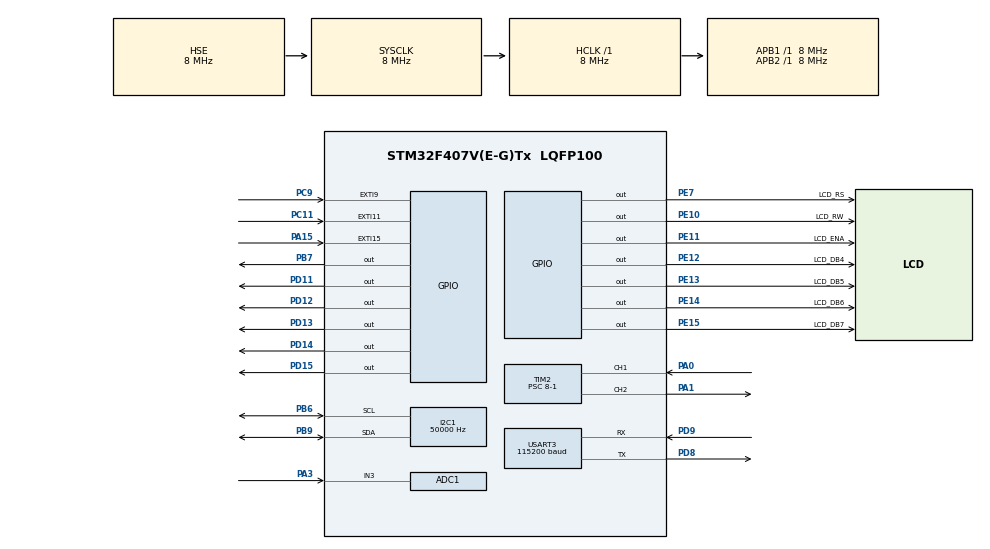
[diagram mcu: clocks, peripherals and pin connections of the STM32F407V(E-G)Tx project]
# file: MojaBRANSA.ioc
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ADC1.Channel-0\#ChannelRegularConversion=ADC_CHANNEL_3
ADC1.NbrOfConversionFlag=1
ADC1.Rank-0\#ChannelRegularConversion=1
ADC1.SamplingTime-0\#ChannelRegularConversion=ADC_SAMPLETIME_480CYCLES
ADC1.master=1
I2C1.ClockSpeed=50000
Mcu.Family=STM32F4
Mcu.Name=STM32F407V(E-G)Tx
Mcu.Package=LQFP100
<<<<<<< HEAD
=======
>>>>>>> 3a18c9df277c3c62d57d98ba238f40c4dd45d2ff
NVIC.EXTI15_10_IRQn=true\:0\:0\:false\:false\:true\:true\:true\:true
NVIC.EXTI9_5_IRQn=true\:0\:0\:false\:false\:true\:true\:true\:true
NVIC.PriorityGroup=NVIC_PRIORITYGROUP_4
NVIC.TIM2_IRQn=true\:0\:0\:false\:false\:true\:true\:true\:true
NVIC.USART3_IRQn=true\:0\:0\:false\:false\:true\:true\:true\:true
PA0-WKUP.Signal=S_TIM2_CH1_ETR
PA1.Signal=S_TIM2_CH2
PA13.Mode=Serial_Wire
PA13.Signal=SYS_JTMS-SWDIO
PA14.Mode=Serial_Wire
PA14.Signal=SYS_JTCK-SWCLK
PA15.GPIO_ModeDefaultEXTI=GPIO_MODE_IT_RISING_FALLING
PA15.Signal=GPXTI15
PA3.Signal=ADCx_IN3
PB6.Mode=I2C
PB6.Signal=I2C1_SCL
PB7.Signal=GPIO_Output
PB9.Mode=I2C
PB9.Signal=I2C1_SDA
PC11.GPIO_ModeDefaultEXTI=GPIO_MODE_IT_RISING_FALLING
PC11.Signal=GPXTI11
PC9.GPIO_ModeDefaultEXTI=GPIO_MODE_IT_RISING_FALLING
PC9.Signal=GPXTI9
PD11.Signal=GPIO_Output
<<<<<<< HEAD
PD12.Signal=GPIO_Output
=======
>>>>>>> 3a18c9df277c3c62d57d98ba238f40c4dd45d2ff
PD13.Signal=GPIO_Output
PD14.Signal=GPIO_Output
PD15.Signal=GPIO_Output
PD8.Mode=Asynchronous
PD8.Signal=USART3_TX
PD9.Mode=Asynchronous
PD9.Signal=USART3_RX
PE10.GPIO_Label=LCD_RW
PE10.Signal=GPIO_Output
PE11.GPIO_Label=LCD_ENA
PE11.Signal=GPIO_Output
PE12.GPIO_Label=LCD_DB4
PE12.Signal=GPIO_Output
PE13.GPIO_Label=LCD_DB5
PE13.Signal=GPIO_Output
PE14.GPIO_Label=LCD_DB6
PE14.Signal=GPIO_Output
PE15.GPIO_Label=LCD_DB7
PE15.Signal=GPIO_Output
PE7.GPIO_Label=LCD_RS
PE7.Signal=GPIO_Output
PH0-OSC_IN.Mode=HSE-External-Oscillator
PH0-OSC_IN.Signal=RCC_OSC_IN
PH1-OSC_OUT.Mode=HSE-External-Oscillator
PH1-OSC_OUT.Signal=RCC_OSC_OUT
ProjectManager.HeapSize=0x200
ProjectManager.StackSize=0x400
ProjectManager.TargetToolchain=STM32CubeIDE
RCC.AHBFreq_Value=8000000
RCC.APB1Freq_Value=8000000
RCC.APB1TimFreq_Value=8000000
RCC.APB2Freq_Value=8000000
RCC.APB2TimFreq_Value=8000000
RCC.CortexFreq_Value=8000000
RCC.HCLKFreq_Value=8000000
RCC.HSE_VALUE=8000000
RCC.HSI_VALUE=16000000
RCC.LSE_VALUE=32768
RCC.SYSCLKFreq_VALUE=8000000
RCC.SYSCLKSource=RCC_SYSCLKSOURCE_HSE
RCC.VCOOutputFreq_Value=192000000
SH.ADCx_IN3.0=ADC1_IN3,IN3
SH.S_TIM2_CH1_ETR.0=TIM2_CH1,Input_Capture1_from_TI1
SH.S_TIM2_CH2.0=TIM2_CH2,PWM Generation2 CH2
TIM2.Channel-Input_Capture1_from_TI1=TIM_CHANNEL_1
TIM2.Channel-PWM\ Generation2\ CH2=TIM_CHANNEL_2
TIM2.Period=4095
TIM2.Prescaler=8-1
USART3.BaudRate=115200
USART3.VirtualMode=VM_ASYNC
board=custom

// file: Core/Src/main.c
/* USER CODE BEGIN Header */
/**
 ******************************************************************************
 * @file           : main.c
 * @brief          : Main program body
 ******************************************************************************
 * @attention
 *
 * Copyright (c) 2024 STMicroelectronics.
 * All rights reserved.
 *
 * This software is licensed under terms that can be found in the LICENSE file
 * in the root directory of this software component.
 * If no LICENSE file comes with this software, it is provided AS-IS.
 *
 ******************************************************************************
 */
/* USER CODE END Header */
#include "main.h"

/* USER CODE BEGIN Includes */
#include <string.h>
#include "stdio.h"
#include <stdbool.h>
#include "dht11.h"
#include "Data.h"
#include "communicate_with_GUI.h"
#include "LCD1602.h"
#include "PWM_LED_Controller.h"
/* USER CODE END Includes */

/* USER CODE BEGIN PM */
Automat My_Automat;
uint32_t counter = 0;

int8_t received_data[2];
/* USER CODE END PM */

ADC_HandleTypeDef hadc1;

I2C_HandleTypeDef hi2c1;

TIM_HandleTypeDef htim2;

UART_HandleTypeDef huart3;

/* USER CODE BEGIN PV */

bool power_flag_up = false;
bool door_flag_up = false;
bool refilled_flag_up = false;
bool ideal_temperature_flag_up = false;
int8_t ideal_temperature;
bool received_data_read_flag = false;
extern bool communication_established_flag_up;
extern uint8_t current_Temp;
extern uint8_t current_Hum;
bool left_button_flag_up = false;
bool right_button_flag_up = false;
bool middle_button_flag_up = false;

/* USER CODE END PV */

void SystemClock_Config(void);
static void MX_GPIO_Init(void);
static void MX_USART3_UART_Init(void);
static void MX_TIM2_Init(void);
static void MX_ADC1_Init(void);
static void MX_I2C1_Init(void);

/* USER CODE BEGIN 0 */
Automat My_Automat;
uint8_t received_data[2];

void automat_Capacity_Lights_Control_Start()
{
	if(My_Automat.capacity >= 65)
	{
		HAL_GPIO_WritePin(GPIOD, GPIO_PIN_12, GPIO_PIN_SET);
		HAL_GPIO_WritePin(GPIOD, GPIO_PIN_13, GPIO_PIN_RESET);
		HAL_GPIO_WritePin(GPIOD, GPIO_PIN_14, GPIO_PIN_RESET);
	}
	else if(My_Automat.capacity < 65 && My_Automat.capacity >0)
	{
		HAL_GPIO_WritePin(GPIOD, GPIO_PIN_12, GPIO_PIN_RESET);
		HAL_GPIO_WritePin(GPIOD, GPIO_PIN_13, GPIO_PIN_SET);
		HAL_GPIO_WritePin(GPIOD, GPIO_PIN_14, GPIO_PIN_RESET);
	}
	else if(My_Automat.capacity == 0)
	{
		HAL_GPIO_WritePin(GPIOD, GPIO_PIN_12, GPIO_PIN_RESET);
		HAL_GPIO_WritePin(GPIOD, GPIO_PIN_13, GPIO_PIN_RESET);
		HAL_GPIO_WritePin(GPIOD, GPIO_PIN_14, GPIO_PIN_SET);
	}
}

void automat_Capacity_Lights_Control_Stop()
{
	HAL_GPIO_WritePin(GPIOD, GPIO_PIN_12, GPIO_PIN_RESET);
	HAL_GPIO_WritePin(GPIOD, GPIO_PIN_13, GPIO_PIN_RESET);
	HAL_GPIO_WritePin(GPIOD, GPIO_PIN_14, GPIO_PIN_RESET);
}

void start_ADC()
{

	uint16_t adcValue;
	volatile HAL_StatusTypeDef adcPoolResult;

	while(My_Automat.door_opened)
	{
	    if(received_data_read_flag)
	    {
	    	process_Transmited_Data();
	    	received_data_read_flag = false;
	    }

	    uint8_t serialized_Automat[99];
	    serialize_Automat(serialized_Automat, sizeof(serialized_Automat));
	    send_Serialized_Automat(serialized_Automat, sizeof(serialized_Automat));

		HAL_ADC_Start(&hadc1);

		adcPoolResult = HAL_ADC_PollForConversion(&hadc1,10);
		if(adcPoolResult == HAL_OK)
		{
			adcValue = HAL_ADC_GetValue(&hadc1);
			update_Light_Intensity(&My_Automat, (adcValue * 100.00) / TIM2->ARR);
			turn_On_Automat_Light();
		}
		else
		{
			continue;
		}
	}
	HAL_ADC_Stop(&hadc1);
}

void turn_Off_Automat_Light()
{
	update_Light_Intensity(&My_Automat, 0);
	TIM2->CCR2 = 0;
}

void turn_On_Automat_Light()
{
	TIM2->CCR2 = (My_Automat.light_Intensity / 100.00) * 4095;
}

void process_Transmited_Data()
{
	if(door_flag_up)
	{
		if(My_Automat.door_opened)
		{
			if(close_Door(&My_Automat))
			{
				if(My_Automat.turned_on)
				{
					lcd_print_current_product(My_Automat.products[My_Automat.selected_Product]);
				}
				HAL_GPIO_WritePin(GPIOD, GPIO_PIN_15, GPIO_PIN_RESET);
				door_flag_up = false;
			}
		}
		else
		{
			if(open_Door(&My_Automat))
			{
				if(My_Automat.turned_on)
				{
					lcd_print_maintance();
					HAL_GPIO_WritePin(GPIOD, GPIO_PIN_15, GPIO_PIN_SET);
				}
				door_flag_up = false;

				if(My_Automat.turned_on)
				{
					start_ADC();
				}
			}
		}
	}
	if(power_flag_up)
	{
		if(My_Automat.turned_on)
		{
			turn_Off(&My_Automat);
			lcd_clear();
			automat_Capacity_Lights_Control_Stop();
			turn_Off_Automat_Light();
			disable_All_Outputs();
		}
		else
		{
			turn_On(&My_Automat);
			automat_Capacity_Lights_Control_Start();
			lcd_print_current_product(My_Automat.products[My_Automat.selected_Product]);
			My_Automat.light_Intensity = DEFAULT_LIGHT_INTENSITY;
			turn_On_Automat_Light();
			enable_All_Outputs();
		}
		power_flag_up = false;
	}
	if(refilled_flag_up)
	{
		refill(&My_Automat);
		refilled_flag_up = false;
		lcd_print_current_product(My_Automat.products[My_Automat.selected_Product]);
		for(int i = 0; i < NUMBER_OF_PRODUCTS; ++i)
		{
			set_Duty_Cycle(&hi2c1, 100, 2 * i, 0);
			set_Duty_Cycle(&hi2c1, 0, 2 * i + 1, 0);
		}
	}
	if(ideal_temperature_flag_up)
	{
		update_Wanted_Temperature(&My_Automat, ideal_temperature);
		ideal_temperature_flag_up = false;
	}
}

/* USER CODE END 0 */

int main(void)
{

  /* MCU Configuration--------------------------------------------------------*/

  /* Reset of all peripherals, Initializes the Flash interface and the Systick. */
  HAL_Init();

  /* Configure the system clock */
  SystemClock_Config();

  /* Initialize all configured peripherals */
  MX_GPIO_Init();
  MX_USART3_UART_Init();
  MX_TIM2_Init();
  MX_ADC1_Init();
  MX_I2C1_Init();

  /* Infinite loop */
  /* USER CODE BEGIN WHILE */

	HAL_TIM_Base_Start(&htim2);

    init_Automat(&My_Automat);
    HAL_UART_Receive_IT(&huart3, received_data, 2);

    init_PWM_LED_Controller_Channels(&hi2c1);

    HAL_UART_Receive_IT(&huart3, received_data, 2);

	HAL_TIM_PWM_Start(&htim2, TIM_CHANNEL_2);

    lcd_init();
    lcd_clear();
    lcd_print_current_product(My_Automat.products[My_Automat.selected_Product]);
    automat_Capacity_Lights_Control_Start();
    turn_On_Automat_Light();

	while (1)
	{
        if(received_data_read_flag)
        {
        	process_Transmited_Data();
        	received_data_read_flag = false;
        }

        if(left_button_flag_up)
        {
        	change_Selection(&My_Automat, -1);
            lcd_print_current_product(My_Automat.products[My_Automat.selected_Product]);
        	left_button_flag_up = false;
        }
        else if(right_button_flag_up)
        {
        	change_Selection(&My_Automat, 1);
            lcd_print_current_product(My_Automat.products[My_Automat.selected_Product]);
        	right_button_flag_up = false;
        }
        else if(middle_button_flag_up)
        {
        	 if(buy_Product(&My_Automat) == true)
        	 {
            	 lcd_print_buying_product();
            	 lcd_print_current_product(My_Automat.products[My_Automat.selected_Product]);
            	 automat_Capacity_Lights_Control_Start();

            	 if(My_Automat.products[My_Automat.selected_Product].capacity >= 0)
            	 {
            		 set_Duty_Cycle(&hi2c1, My_Automat.products[My_Automat.selected_Product].capacity, 2 * My_Automat.selected_Product , 0);
            	 }

            	 if(My_Automat.products[My_Automat.selected_Product].capacity == 0)
            	 {
            		 set_Duty_Cycle(&hi2c1, 100, 2 * My_Automat.selected_Product + 1 , 0);
            	 }
        	 }
        	 else
        	 {
        		 if(My_Automat.turned_on)
        		 {
            		 lcd_print_empty_slot();
            		 HAL_Delay(2500);
            		 lcd_print_current_product(My_Automat.products[My_Automat.selected_Product]);
        		 }
        	 }
        	 middle_button_flag_up = false;
        }

        if(communication_established_flag_up)
        {
        	HAL_Delay(100);

        	++counter;
        	if(counter % 15 == 0)
    		{
        		read_Temperature_and_Humidity();
        		update_Temperature_and_Humidity(&My_Automat, current_Temp, current_Hum);
        		if(My_Automat.current_Temperature > 1.1 * My_Automat.wanted_Temperature || My_Automat.current_Temperature < 0.9 * My_Automat.wanted_Temperature)
        		{
        			start_AC(&hi2c1);
        		}
        		else
        		{
        			stop_AC(&hi2c1);
        		}
    		}

            uint8_t serialized_Automat[99];
            serialize_Automat(serialized_Automat, sizeof(serialized_Automat));
            send_Serialized_Automat(serialized_Automat, sizeof(serialized_Automat));
        }
    /* USER CODE END WHILE */

	}
}

void SystemClock_Config(void)
{
  RCC_OscInitTypeDef RCC_OscInitStruct = {0};
  RCC_ClkInitTypeDef RCC_ClkInitStruct = {0};

  /** Configure the main internal regulator output voltage
  */
  __HAL_RCC_PWR_CLK_ENABLE();
  __HAL_PWR_VOLTAGESCALING_CONFIG(PWR_REGULATOR_VOLTAGE_SCALE1);

  /** Initializes the RCC Oscillators according to the specified parameters
  * in the RCC_OscInitTypeDef structure.
  */
  RCC_OscInitStruct.OscillatorType = RCC_OSCILLATORTYPE_HSE;
  RCC_OscInitStruct.HSEState = RCC_HSE_ON;
  RCC_OscInitStruct.PLL.PLLState = RCC_PLL_NONE;
  if (HAL_RCC_OscConfig(&RCC_OscInitStruct) != HAL_OK)
  {
    Error_Handler();
  }

  /** Initializes the CPU, AHB and APB buses clocks
  */
  RCC_ClkInitStruct.ClockType = RCC_CLOCKTYPE_HCLK|RCC_CLOCKTYPE_SYSCLK
                              |RCC_CLOCKTYPE_PCLK1|RCC_CLOCKTYPE_PCLK2;
  RCC_ClkInitStruct.SYSCLKSource = RCC_SYSCLKSOURCE_HSE;
  RCC_ClkInitStruct.AHBCLKDivider = RCC_SYSCLK_DIV1;
  RCC_ClkInitStruct.APB1CLKDivider = RCC_HCLK_DIV1;
  RCC_ClkInitStruct.APB2CLKDivider = RCC_HCLK_DIV1;

  if (HAL_RCC_ClockConfig(&RCC_ClkInitStruct, FLASH_LATENCY_0) != HAL_OK)
  {
    Error_Handler();
  }
}

static void MX_ADC1_Init(void)
{

  ADC_ChannelConfTypeDef sConfig = {0};

  /** Configure the global features of the ADC (Clock, Resolution, Data Alignment and number of conversion)
  */
  hadc1.Instance = ADC1;
  hadc1.Init.ClockPrescaler = ADC_CLOCK_SYNC_PCLK_DIV2;
  hadc1.Init.Resolution = ADC_RESOLUTION_12B;
  hadc1.Init.ScanConvMode = DISABLE;
  hadc1.Init.ContinuousConvMode = DISABLE;
  hadc1.Init.DiscontinuousConvMode = DISABLE;
  hadc1.Init.ExternalTrigConvEdge = ADC_EXTERNALTRIGCONVEDGE_NONE;
  hadc1.Init.ExternalTrigConv = ADC_SOFTWARE_START;
  hadc1.Init.DataAlign = ADC_DATAALIGN_RIGHT;
  hadc1.Init.NbrOfConversion = 1;
  hadc1.Init.DMAContinuousRequests = DISABLE;
  hadc1.Init.EOCSelection = ADC_EOC_SINGLE_CONV;
  if (HAL_ADC_Init(&hadc1) != HAL_OK)
  {
    Error_Handler();
  }

  /** Configure for the selected ADC regular channel its corresponding rank in the sequencer and its sample time.
  */
  sConfig.Channel = ADC_CHANNEL_3;
  sConfig.Rank = 1;
  sConfig.SamplingTime = ADC_SAMPLETIME_480CYCLES;
  if (HAL_ADC_ConfigChannel(&hadc1, &sConfig) != HAL_OK)
  {
    Error_Handler();
  }

}

static void MX_I2C1_Init(void)
{

  hi2c1.Instance = I2C1;
  hi2c1.Init.ClockSpeed = 50000;
  hi2c1.Init.DutyCycle = I2C_DUTYCYCLE_2;
  hi2c1.Init.OwnAddress1 = 0;
  hi2c1.Init.AddressingMode = I2C_ADDRESSINGMODE_7BIT;
  hi2c1.Init.DualAddressMode = I2C_DUALADDRESS_DISABLE;
  hi2c1.Init.OwnAddress2 = 0;
  hi2c1.Init.GeneralCallMode = I2C_GENERALCALL_DISABLE;
  hi2c1.Init.NoStretchMode = I2C_NOSTRETCH_DISABLE;
  if (HAL_I2C_Init(&hi2c1) != HAL_OK)
  {
    Error_Handler();
  }

}

static void MX_TIM2_Init(void)
{

  TIM_MasterConfigTypeDef sMasterConfig = {0};
  TIM_IC_InitTypeDef sConfigIC = {0};
  TIM_OC_InitTypeDef sConfigOC = {0};

  htim2.Instance = TIM2;
  htim2.Init.Prescaler = 8-1;
  htim2.Init.CounterMode = TIM_COUNTERMODE_UP;
  htim2.Init.Period = 4095;
  htim2.Init.ClockDivision = TIM_CLOCKDIVISION_DIV1;
  htim2.Init.AutoReloadPreload = TIM_AUTORELOAD_PRELOAD_DISABLE;
  if (HAL_TIM_IC_Init(&htim2) != HAL_OK)
  {
    Error_Handler();
  }
  if (HAL_TIM_PWM_Init(&htim2) != HAL_OK)
  {
    Error_Handler();
  }
  sMasterConfig.MasterOutputTrigger = TIM_TRGO_RESET;
  sMasterConfig.MasterSlaveMode = TIM_MASTERSLAVEMODE_DISABLE;
  if (HAL_TIMEx_MasterConfigSynchronization(&htim2, &sMasterConfig) != HAL_OK)
  {
    Error_Handler();
  }
  sConfigIC.ICPolarity = TIM_INPUTCHANNELPOLARITY_RISING;
  sConfigIC.ICSelection = TIM_ICSELECTION_DIRECTTI;
  sConfigIC.ICPrescaler = TIM_ICPSC_DIV1;
  sConfigIC.ICFilter = 0;
  if (HAL_TIM_IC_ConfigChannel(&htim2, &sConfigIC, TIM_CHANNEL_1) != HAL_OK)
  {
    Error_Handler();
  }
  sConfigOC.OCMode = TIM_OCMODE_PWM1;
  sConfigOC.Pulse = 0;
  sConfigOC.OCPolarity = TIM_OCPOLARITY_HIGH;
  sConfigOC.OCFastMode = TIM_OCFAST_DISABLE;
  if (HAL_TIM_PWM_ConfigChannel(&htim2, &sConfigOC, TIM_CHANNEL_2) != HAL_OK)
  {
    Error_Handler();
  }
  HAL_TIM_MspPostInit(&htim2);

}

static void MX_USART3_UART_Init(void)
{

  huart3.Instance = USART3;
  huart3.Init.BaudRate = 115200;
  huart3.Init.WordLength = UART_WORDLENGTH_8B;
  huart3.Init.StopBits = UART_STOPBITS_1;
  huart3.Init.Parity = UART_PARITY_NONE;
  huart3.Init.Mode = UART_MODE_TX_RX;
  huart3.Init.HwFlowCtl = UART_HWCONTROL_NONE;
  huart3.Init.OverSampling = UART_OVERSAMPLING_16;
  if (HAL_UART_Init(&huart3) != HAL_OK)
  {
    Error_Handler();
  }

}

static void MX_GPIO_Init(void)
{
  GPIO_InitTypeDef GPIO_InitStruct = {0};

  /* GPIO Ports Clock Enable */
  __HAL_RCC_GPIOH_CLK_ENABLE();
  __HAL_RCC_GPIOA_CLK_ENABLE();
  __HAL_RCC_GPIOE_CLK_ENABLE();
  __HAL_RCC_GPIOD_CLK_ENABLE();
  __HAL_RCC_GPIOC_CLK_ENABLE();
  __HAL_RCC_GPIOB_CLK_ENABLE();

  /*Configure GPIO pin Output Level */
<<<<<<< HEAD
  HAL_GPIO_WritePin(GPIOE, LCD_RS_Pin|LCD_RW_Pin|LCD_ENA_Pin|LCD_DB4_Pin
                          |LCD_DB5_Pin|LCD_DB6_Pin|LCD_DB7_Pin, GPIO_PIN_RESET);

  /*Configure GPIO pin Output Level */
  HAL_GPIO_WritePin(GPIOD, GPIO_PIN_11|GPIO_PIN_12|GPIO_PIN_13|GPIO_PIN_14
                          |GPIO_PIN_15, GPIO_PIN_RESET);

  /*Configure GPIO pin Output Level */
  HAL_GPIO_WritePin(GPIOB, GPIO_PIN_7, GPIO_PIN_RESET);

  /*Configure GPIO pins : LCD_RS_Pin LCD_RW_Pin LCD_ENA_Pin LCD_DB4_Pin
                           LCD_DB5_Pin LCD_DB6_Pin LCD_DB7_Pin */
  GPIO_InitStruct.Pin = LCD_RS_Pin|LCD_RW_Pin|LCD_ENA_Pin|LCD_DB4_Pin
                          |LCD_DB5_Pin|LCD_DB6_Pin|LCD_DB7_Pin;
  GPIO_InitStruct.Mode = GPIO_MODE_OUTPUT_PP;
  GPIO_InitStruct.Pull = GPIO_NOPULL;
  GPIO_InitStruct.Speed = GPIO_SPEED_FREQ_LOW;
  HAL_GPIO_Init(GPIOE, &GPIO_InitStruct);

  /*Configure GPIO pins : PD11 PD12 PD13 PD14
                           PD15 */
  GPIO_InitStruct.Pin = GPIO_PIN_11|GPIO_PIN_12|GPIO_PIN_13|GPIO_PIN_14
                          |GPIO_PIN_15;
=======
  HAL_GPIO_WritePin(GPIOD, GPIO_PIN_11|GPIO_PIN_13|GPIO_PIN_14|GPIO_PIN_15, GPIO_PIN_RESET);

  /*Configure GPIO pins : PD11 PD13 PD14 PD15 */
  GPIO_InitStruct.Pin = GPIO_PIN_11|GPIO_PIN_13|GPIO_PIN_14|GPIO_PIN_15;
>>>>>>> 3a18c9df277c3c62d57d98ba238f40c4dd45d2ff
  GPIO_InitStruct.Mode = GPIO_MODE_OUTPUT_PP;
  GPIO_InitStruct.Pull = GPIO_NOPULL;
  GPIO_InitStruct.Speed = GPIO_SPEED_FREQ_LOW;
  HAL_GPIO_Init(GPIOD, &GPIO_InitStruct);

  /*Configure GPIO pins : PC9 PC11 */
  GPIO_InitStruct.Pin = GPIO_PIN_9|GPIO_PIN_11;
  GPIO_InitStruct.Mode = GPIO_MODE_IT_RISING_FALLING;
  GPIO_InitStruct.Pull = GPIO_NOPULL;
  HAL_GPIO_Init(GPIOC, &GPIO_InitStruct);

  /*Configure GPIO pin : PA15 */
  GPIO_InitStruct.Pin = GPIO_PIN_15;
  GPIO_InitStruct.Mode = GPIO_MODE_IT_RISING_FALLING;
  GPIO_InitStruct.Pull = GPIO_NOPULL;
  HAL_GPIO_Init(GPIOA, &GPIO_InitStruct);

  /*Configure GPIO pin : PB7 */
  GPIO_InitStruct.Pin = GPIO_PIN_7;
  GPIO_InitStruct.Mode = GPIO_MODE_OUTPUT_PP;
  GPIO_InitStruct.Pull = GPIO_NOPULL;
  GPIO_InitStruct.Speed = GPIO_SPEED_FREQ_LOW;
  HAL_GPIO_Init(GPIOB, &GPIO_InitStruct);

  /* EXTI interrupt init*/
  HAL_NVIC_SetPriority(EXTI9_5_IRQn, 0, 0);
  HAL_NVIC_EnableIRQ(EXTI9_5_IRQn);

  HAL_NVIC_SetPriority(EXTI15_10_IRQn, 0, 0);
  HAL_NVIC_EnableIRQ(EXTI15_10_IRQn);

}

/* USER CODE BEGIN 4 */
void HAL_UART_RxCpltCallback(UART_HandleTypeDef *huart)
{
    if (huart->Instance == USART3)
    {
        int wanted_temperature = (int)received_data[0];
        int power_switch_state = (int)received_data[1];

<<<<<<< HEAD

void HAL_UART_RxCpltCallback(UART_HandleTypeDef *huart)
{
    if (huart->Instance == USART3)
    {
    	receive_Data(received_data, sizeof(received_data));
=======
        My_Automat.wanted_Temperature = wanted_temperature;
        //HAL_GPIO_WritePin(GPIOD, GPIO_PIN_15, GPIO_PIN_SET);
        if ( wanted_temperature > 20)
		{
			HAL_GPIO_WritePin(GPIOD, GPIO_PIN_13, GPIO_PIN_SET); // Turn on LED
		}
		else
		{
			HAL_GPIO_WritePin(GPIOD, GPIO_PIN_13, GPIO_PIN_RESET); // Turn off LED
                }
        if (power_switch_state == 1)
        {
            HAL_GPIO_WritePin(GPIOD, GPIO_PIN_15, GPIO_PIN_SET); // Turn on LED
        }
        else
        {
            HAL_GPIO_WritePin(GPIOD, GPIO_PIN_15, GPIO_PIN_RESET); // Turn off LED
        }
>>>>>>> 3a18c9df277c3c62d57d98ba238f40c4dd45d2ff

        // Prepare to receive the next two bytes
        HAL_UART_Receive_IT(&huart3, received_data, 2);
    }
}
/* USER CODE END 4 */

void Error_Handler(void)
{
	__disable_irq();
	while (1)
	{
	}
}
